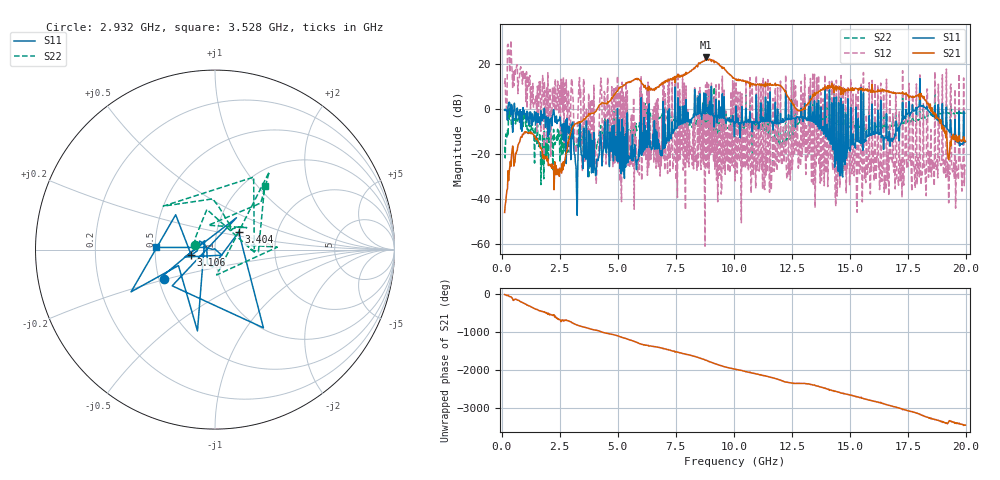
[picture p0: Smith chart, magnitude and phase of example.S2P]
! C:\Users\SOE_Engineer\Desktop\VNA PLOTS JPL\Fresh Start\Reshape9_-30dBm_noAtt.S2P
! Touchstone 1.1 file saved by VNA.EXE V1.65 (www.ke5fx.com/gpib/readme.htm)
! 10/6/2023 1:14:13 PM
!  Source: HEWLETT PACKARD,8720B,0,2.01
!  Min freq: 1.300000E+008 Hz
!  Max freq: 1.997000E+010 Hz
!  Points: 801
!  Params: S11 S21 S12 S22
# GHZ S MA R 50
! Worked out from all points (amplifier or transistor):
!   801 points, 130 MHz to 19.97 GHz, reference 50 ohm
!   highest |S21| = 23.2 dB at 8.785 GHz (marker M1)
!   |S21| within 3 dB of that: 8.47 GHz to 9.328 GHz (857.9 MHz wide, 9.64 % of centre)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
!   unconditionally stable (mu >= 1): 1.854 GHz to 2.231 GHz; 2.249 GHz to 2.986 GHz; 3.077 GHz to 3.312 GHz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
!   at 3.428 GHz: K = 4.60, MAG = -5.2 dB, |S12| = -14.1 dB
!   at 10.05 GHz: K = 2.79, MAG = 15.4 dB, |S12| = -31.9 dB
!   at 19.97 GHz: K = 12.53, MAG = -8.8 dB, |S12| = -24.6 dB
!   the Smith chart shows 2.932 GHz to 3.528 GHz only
!   S11 on the Smith chart (normalised r, x): 2.932 GHz: 0.53, -0.20; 3.106 GHz: 0.76, -0.05; 3.404 GHz: 1.28, +0.26; 3.528 GHz: 0.50, +0.01
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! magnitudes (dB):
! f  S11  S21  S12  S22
! 130 MHz  -0.4  -45.9  11.3  -16.6
! 353.2 MHz  2.8  -25.4  16.5  0.5
! 948.4 MHz  -2.2  -11.1  13.8  -4.1
! 2.362 GHz  -3.0  -26.3  0.5  -12.4
! 2.932 GHz  -9.7  -12.4  -17.4  -19.0
! 3.106 GHz  -17.3  -7.5  -5.2  -12.4
! 3.404 GHz  -15.7  -5.9  8.8  -9.2
! 3.453 GHz  -20.8  -5.4  -24.0  -14.7
! 3.528 GHz  -9.6  -4.3  13.5  -7.0
! 4.098 GHz  -22.2  -0.1  -28.8  -16.0
! 4.346 GHz  -19.7  2.8  -23.5  -11.1
! 5.809 GHz  -26.9  13.7  -20.8  -9.5
! 6.057 GHz  -10.3  11.4  6.7  -12.6
! 6.752 GHz  -17.3  9.9  -25.5  -3.5
! 8.785 GHz  6.9  23.2  10.9  5.4
! 10.05 GHz  -5.9  13.6  -31.9  -7.6
! 12.36 GHz  -2.3  5.3  4.6  -7.3
! 13.37 GHz  -5.2  5.2  -20.6  -4.0
! 14.59 GHz  -28.1  9.3  -22.2  -7.0
! 16.67 GHz  -13.3  8.2  -38.5  -7.5
! 18.06 GHz  1.7  7.1  -33.6  -4.1
! 19.97 GHz  -14.4  -14.3  -24.6  -1.5
